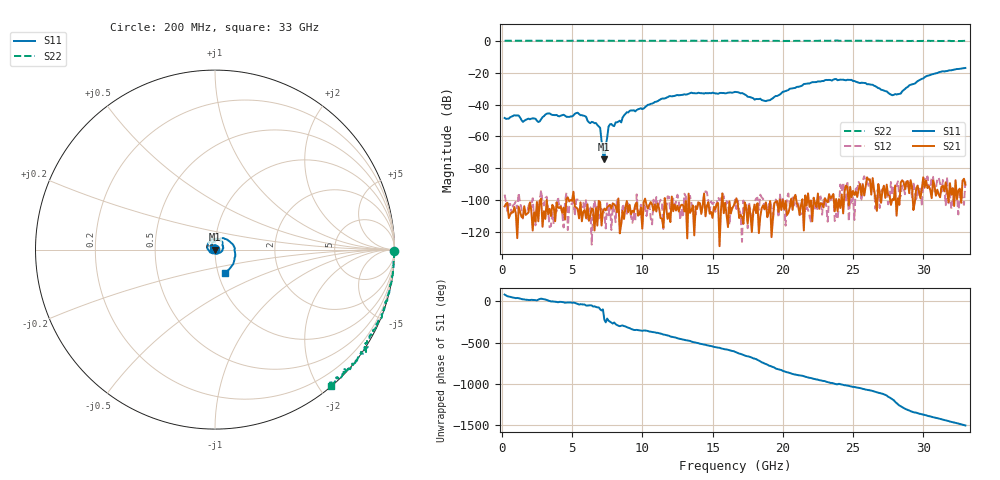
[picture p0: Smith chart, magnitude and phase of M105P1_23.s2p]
# GHZ S RI R 50
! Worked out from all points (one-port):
!   329 points, 200 MHz to 33 GHz, reference 50 ohm
!   lowest |S11| = -74.5 dB at 7.3 GHz (marker M1), VSWR 1.00, Z = 50 + j0.0128 ohm
!   |S11| at or under -10 dB: start of sweep to end of sweep
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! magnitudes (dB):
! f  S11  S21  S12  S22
! 200 MHz  -48.4  -103.9  -96.5  0.0
! 1.2 GHz  -46.9  -104.1  -95.4  0.0
! 1.5 GHz  -50.9  -111.0  -111.6  0.0
! 2.6 GHz  -51.0  -113.3  -106.2  0.0
! 3.3 GHz  -45.6  -108.9  -106.0  0.0
! 5.7 GHz  -46.7  -113.2  -104.4  0.0
! 7 GHz  -54.6  -101.2  -102.6  0.0
! 7.2 GHz  -71.0  -107.1  -105.9  0.0
! 7.3 GHz  -74.5  -105.3  -108.8  0.0
! 7.6 GHz  -53.8  -103.6  -109.5  0.0
! 7.7 GHz  -52.4  -103.0  -102.9  0.0
! 8 GHz  -53.6  -102.6  -106.4  0.0
! 11.2 GHz  -37.2  -105.3  -102.0  0.0
! 13.5 GHz  -32.6  -106.2  -102.0  0.0
! 16.6 GHz  -32.1  -101.9  -99.7  -0.1
! 18.8 GHz  -37.9  -101.4  -104.0  -0.1
! 22.1 GHz  -26.0  -113.2  -106.2  -0.1
! 24.9 GHz  -24.5  -98.1  -102.7  0.0
! 27.6 GHz  -33.3  -97.1  -100.6  0.0
! 28.4 GHz  -33.1  -88.8  -97.4  0.0
! 30.3 GHz  -21.9  -92.4  -85.1  0.0
! 33 GHz  -17.1  -90.3  -88.3  0.0
